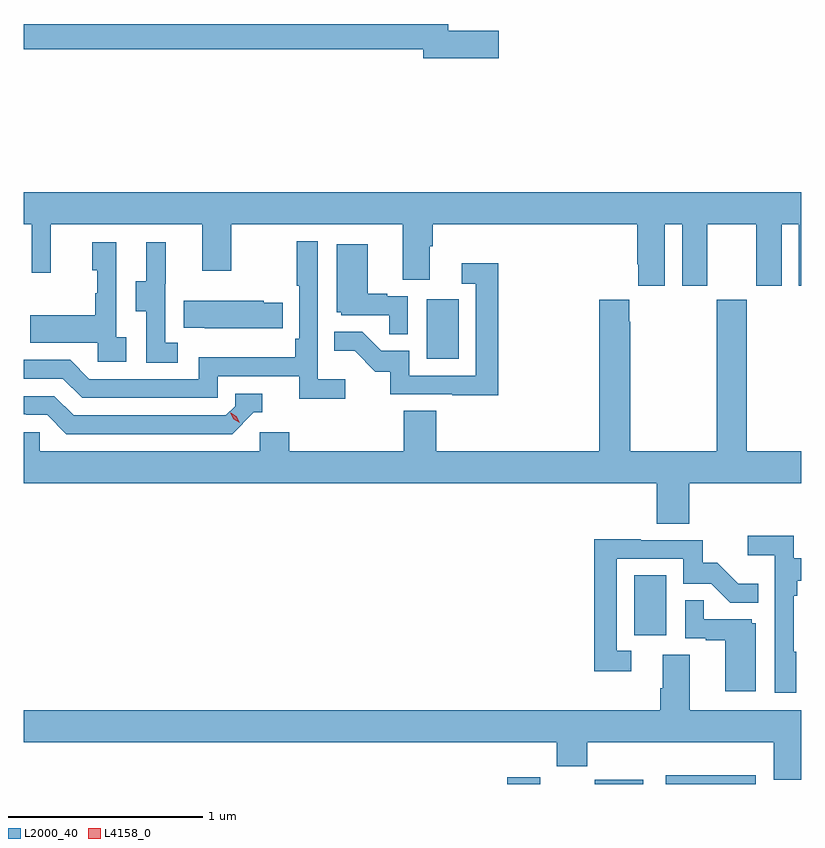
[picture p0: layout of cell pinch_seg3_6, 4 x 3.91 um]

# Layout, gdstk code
import gdstk
lib = gdstk.Library(unit=1e-6, precision=1e-09)
def R(c, l, rs):  # rectangles x0, y0, x1, y1
    for r in rs: c.add(gdstk.rectangle(r[:2], r[2:], *l))
def P(c, l, *ps):  # polygons
    for p in ps: c.add(gdstk.Polygon(p, *l))
L2000_40 = (2000, 40)
L4158_0 = (4158, 0)

pinch_seg3_6 = lib.new_cell('pinch_seg3_6')
R(pinch_seg3_6, L2000_40, [(1117.046,739.328,1117.216,739.363), (1117.498,739.328,1117.747,739.351), (1117.862,739.328,1118.326,739.372), (1117.7,740.094,1117.864,740.401), (1116.632,741.516,1116.796,741.823)])
P(pinch_seg3_6, L2000_40, [(1117.003,743.205),(1116.742,743.205),(1116.742,743.239),(1114.559,743.239),(1114.559,743.11),(1116.614,743.11),(1116.614,743.063),(1117.003,743.063)],
  [(1117.858,742.208),(1117.946,742.208),(1117.946,741.891),(1118.077,741.891),(1118.077,742.208),(1118.327,742.208),(1118.327,741.891),(1118.458,741.891),(1118.458,742.208),(1118.546,742.208),(1118.546,741.891),(1118.559,741.891),(1118.559,742.372),(1114.559,742.372),(1114.559,742.208),(1114.599,742.208),(1114.599,741.96),(1114.697,741.96),(1114.697,742.208),(1115.477,742.208),(1115.477,741.969),(1115.625,741.969),(1115.625,742.208),(1116.509,742.208),(1116.509,741.922),(1116.649,741.922),(1116.649,742.096),(1116.662,742.096),(1116.662,742.208),(1117.715,742.208),(1117.715,742.003),(1117.721,742.003),(1117.721,741.891),(1117.858,741.891)],
  [(1116.214,741.412),(1116.072,741.412),(1116.072,742.12),(1115.964,742.12),(1115.964,741.892),(1115.976,741.892),(1115.976,741.619),(1115.956,741.619),(1115.956,741.523),(1115.46,741.523),(1115.46,741.411),(1114.896,741.411),(1114.797,741.51),(1114.559,741.51),(1114.559,741.414),(1114.76,741.414),(1114.859,741.315),(1115.556,741.315),(1115.556,741.426),(1115.975,741.426),(1115.975,741.31),(1116.214,741.31)],
  [(1115.35,741.599),(1115.286,741.599),(1115.286,741.903),(1115.288,741.903),(1115.288,742.117),(1115.189,742.117),(1115.189,741.915),(1115.135,741.915),(1115.135,741.76),(1115.19,741.76),(1115.19,741.496),(1115.35,741.496)],
  [(1115.086,741.626),(1115.034,741.626),(1115.034,742.117),(1114.91,742.117),(1114.91,741.972),(1114.936,741.972),(1114.936,741.854),(1114.926,741.854),(1114.926,741.739),(1114.591,741.739),(1114.591,741.599),(1114.938,741.599),(1114.938,741.501),(1115.086,741.501)],
  [(1116.534,741.837),(1116.428,741.837),(1116.428,741.85),(1116.328,741.85),(1116.328,742.105),(1116.17,742.105),(1116.17,741.756),(1116.192,741.756),(1116.192,741.741),(1116.439,741.741),(1116.439,741.643),(1116.534,741.643)],
  [(1117.001,742.009),(1116.813,742.009),(1116.813,741.903),(1116.885,741.903),(1116.885,741.429),(1116.543,741.429),(1116.543,741.558),(1116.399,741.558),(1116.301,741.656),(1116.157,741.656),(1116.157,741.557),(1116.261,741.557),(1116.368,741.45),(1116.445,741.45),(1116.445,741.333),(1116.763,741.333),(1116.763,741.328),(1117.001,741.328)],
  [(1115.891,741.804),(1115.793,741.804),(1115.793,741.814),(1115.383,741.814),(1115.383,741.677),(1115.491,741.677),(1115.491,741.674),(1115.891,741.674)],
  [(1115.742,741.24),(1115.785,741.24),(1115.785,741.336),(1115.646,741.336),(1115.646,741.273),(1115.598,741.225),(1114.815,741.225),(1114.716,741.324),(1114.559,741.324),(1114.559,741.231),(1114.572,741.231),(1114.572,741.228),(1114.679,741.228),(1114.778,741.129),(1115.631,741.129)],
  [(1118.125,741.82),(1118.125,741.04),(1117.68,741.04),(1117.68,741.707),(1117.675,741.707),(1117.675,741.82),(1117.52,741.82),(1117.52,741.04),(1116.68,741.04),(1116.68,741.248),(1116.515,741.248),(1116.515,741.04),(1115.924,741.04),(1115.924,741.138),(1115.772,741.138),(1115.772,741.04),(1114.641,741.04),(1114.641,741.138),(1114.559,741.138),(1114.559,740.876),(1117.817,740.876),(1117.817,740.668),(1117.982,740.668),(1117.982,740.876),(1118.559,740.876),(1118.559,741.04),(1118.28,741.04),(1118.28,741.82)],
  [(1118.533,740.009),(1118.521,740.009),(1118.521,740.297),(1118.54,740.297),(1118.54,740.374),(1118.559,740.374),(1118.559,740.49),(1118.522,740.49),(1118.522,740.606),(1118.283,740.606),(1118.283,740.504),(1118.424,740.504),(1118.424,739.797),(1118.533,739.797)],
  [(1117.684,740.013),(1117.611,740.013),(1117.611,740.487),(1117.953,740.487),(1117.953,740.358),(1118.097,740.358),(1118.195,740.26),(1118.339,740.26),(1118.339,740.359),(1118.235,740.359),(1118.128,740.466),(1118.052,740.466),(1118.052,740.583),(1117.733,740.583),(1117.733,740.588),(1117.495,740.588),(1117.495,739.908),(1117.684,739.908)],
  [(1118.326,740.154),(1118.304,740.154),(1118.304,740.175),(1118.057,740.175),(1118.057,740.273),(1117.962,740.273),(1117.962,740.079),(1118.069,740.079),(1118.069,740.067),(1118.168,740.067),(1118.168,739.806),(1118.326,739.806)],
  [(1118.559,739.708),(1117.987,739.708),(1117.987,739.994),(1117.847,739.994),(1117.847,739.82),(1117.835,739.82),(1117.835,739.708),(1114.559,739.708),(1114.559,739.544),(1117.301,739.544),(1117.301,739.42),(1117.457,739.42),(1117.457,739.544),(1118.417,739.544),(1118.417,739.35),(1118.559,739.35)])
P(pinch_seg3_6, L4158_0, [(1115.669,741.187),(1115.638,741.206),(1115.622,741.239),(1115.622,741.239),(1115.623,741.239),(1115.653,741.22),(1115.669,741.187),(1115.669,741.187)])

lib.write_gds('pinch_seg3_6.gds')
